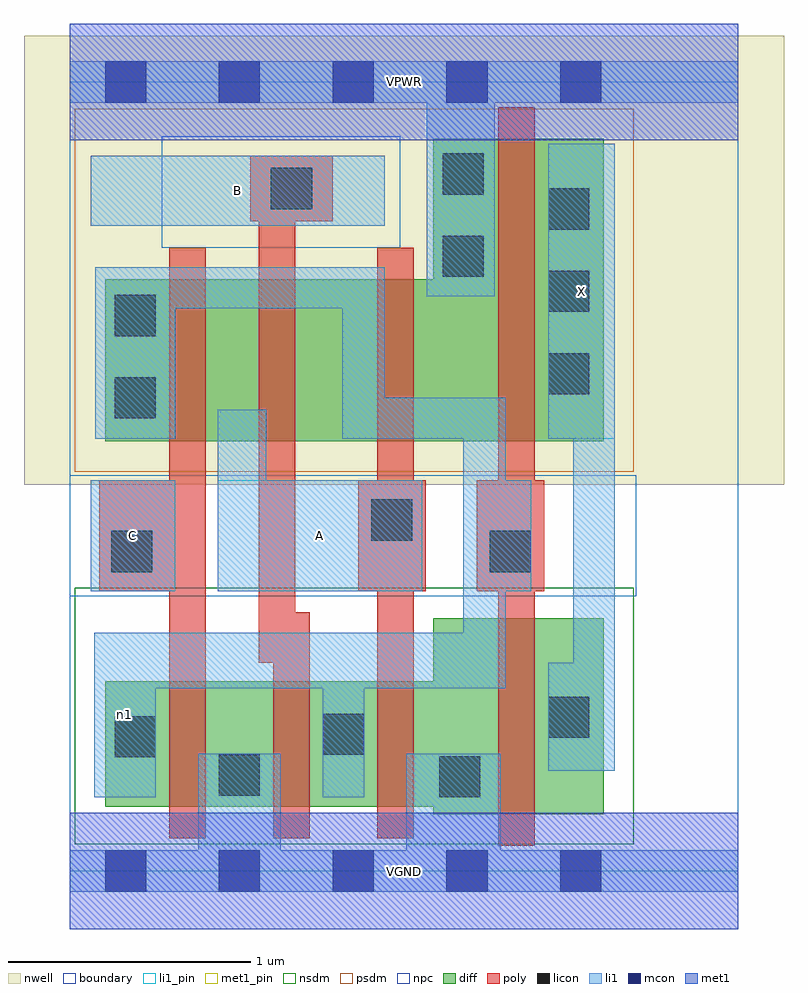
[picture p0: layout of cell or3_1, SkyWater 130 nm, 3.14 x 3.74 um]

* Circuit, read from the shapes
.subckt or3_1 A B C VGND VPWR X n1
XM1 VGND C n1 VSUBS sky130_fd_pr__nfet_01v8 w=0.52 l=0.15
XM2 n1 B VGND VSUBS sky130_fd_pr__nfet_01v8 w=0.52 l=0.15
XM3 VGND A n1 VSUBS sky130_fd_pr__nfet_01v8 w=0.52 l=0.15
XM4 X n1 VGND VSUBS sky130_fd_pr__nfet_01v8 w=0.81 l=0.15
XM5 n2 C n1 n3 sky130_fd_pr__pfet_01v8 w=0.67 l=0.15
XM6 n4 B n2 n3 sky130_fd_pr__pfet_01v8 w=0.67 l=0.15
XM7 VPWR A n4 n3 sky130_fd_pr__pfet_01v8 w=0.67 l=0.15
XM8 X n1 VPWR n3 sky130_fd_pr__pfet_01v8 w=1.25 l=0.15
.ends

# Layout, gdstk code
import gdstk
lib = gdstk.Library(unit=1e-6, precision=1e-09)
def R(c, l, rs):  # rectangles x0, y0, x1, y1
    for r in rs: c.add(gdstk.rectangle(r[:2], r[2:], *l))
def A(c, l, x, y, w, h, nx, ny, dx, dy):  # array of equal rectangles
    R(c, l, [(x+i*dx, y+j*dy, x+i*dx+w, y+j*dy+h) for i in range(nx) for j in range(ny)])
nwell = (64, 20)
diff = (65, 20)
poly = (66, 20)
licon = (66, 44)
li1_pin = (67, 16)
li1 = (67, 20)
mcon = (67, 44)
met1_pin = (68, 16)
met1 = (68, 20)
nsdm = (93, 44)
psdm = (94, 20)
npc = (95, 20)
boundary = (235, 4)

or3_1 = lib.new_cell('or3_1')
R(or3_1, nwell, [(-0.19,1.595,2.95,3.45), (0,1.595,2.76,3.45)])
R(or3_1, diff, [(1.5,0.235,2.205,1.045), (0.145,0.265,2.205,0.785), (0.145,1.775,2.205,2.445), (1.5,1.775,2.205,3.025)])
R(or3_1, poly, [(1.77,0.105,1.92,3.155), (0.41,0.135,0.56,2.575), (0.84,0.135,0.99,1.07), (1.27,0.135,1.42,2.575), (0.78,0.86,0.93,2.955), (0.12,1.155,0.56,1.615), (1.19,1.155,1.47,1.615), (1.68,1.155,1.96,1.615), (0.745,2.685,1.085,2.955)])
A(or3_1, licon, 1.975, 1.97, 0.17, 0.17, 1, 3, 0, 0.34)
R(or3_1, licon, [(1.525,0.305,1.695,0.475), (0.615,0.31,0.785,0.48), (0.185,0.47,0.355,0.64), (1.045,0.48,1.215,0.65), (1.975,0.55,2.145,0.72), (0.17,1.235,0.34,1.405), (1.735,1.235,1.905,1.405), (1.245,1.365,1.415,1.535), (0.185,1.87,0.355,2.04), (0.185,2.21,0.355,2.38), (1.54,2.455,1.71,2.625), (0.83,2.735,1,2.905), (1.54,2.795,1.71,2.965)])
R(or3_1, li1_pin, [(0.085,1.155,0.435,1.615), (0.61,1.155,1.455,1.615), (1.975,1.785,2.25,3.005), (0.085,2.665,1.3,2.955)])
R(or3_1, li1, [(0,-0.085,2.76,0.085), (0.53,-0.085,0.87,0.485), (1.39,-0.085,1.78,0.485), (0.1,0.305,0.355,0.985), (1.045,0.305,1.215,0.985), (1.975,0.415,2.25,0.86), (2.08,0.415,2.25,3.005), (0.1,0.755,1.8,0.985), (1.625,0.755,1.8,1.955), (0.085,1.155,0.435,1.615), (0.61,1.155,1.455,1.615), (0.61,1.155,0.81,1.905), (1.625,1.155,1.905,1.615), (0.105,1.785,0.435,2.495), (1.125,1.785,1.8,1.955), (1.125,1.785,1.3,2.495), (1.975,1.785,2.25,3.005), (0.105,2.325,1.3,2.495), (1.475,2.375,1.755,3.345), (0.085,2.665,1.3,2.955), (0,3.175,2.76,3.345)])
A(or3_1, mcon, 0.145, -0.085, 0.17, 0.17, 5, 2, 0.47, 3.26)
R(or3_1, met1_pin, [(0,-0.24,2.76,0.24), (0,3.02,2.76,3.5)])
R(or3_1, met1, [(0,-0.24,2.76,0.24), (0,3.02,2.76,3.5)])
R(or3_1, nsdm, [(0.02,0.11,2.33,1.17)])
R(or3_1, psdm, [(0.02,1.65,2.33,3.15)])
R(or3_1, npc, [(0,1.135,2.34,1.635), (0.38,2.575,1.365,3.035)])
R(or3_1, boundary, [(0,0,2.76,3.26)])
or3_1.add(gdstk.Label('A', (1.032,1.385), layer=67, texttype=5))
or3_1.add(gdstk.Label('B', (0.692,2.81), layer=67, texttype=5))
or3_1.add(gdstk.Label('C', (0.26,1.385), layer=67, texttype=5))
or3_1.add(gdstk.Label('X', (2.112,2.395), layer=67, texttype=5))
or3_1.add(gdstk.Label('n1', (0.227,0.645), layer=67, texttype=5))
or3_1.add(gdstk.Label('VPWR', (1.38,3.26), layer=68, texttype=5))
or3_1.add(gdstk.Label('VGND', (1.38,0), layer=68, texttype=5))
or3_1.add(gdstk.Label('A', (1.032,1.385), layer=67, texttype=16))
or3_1.add(gdstk.Label('B', (0.692,2.81), layer=67, texttype=16))
or3_1.add(gdstk.Label('C', (0.26,1.385), layer=67, texttype=16))
or3_1.add(gdstk.Label('X', (2.112,2.395), layer=67, texttype=16))
or3_1.add(gdstk.Label('VPWR', (1.38,3.26), layer=68, texttype=16))
or3_1.add(gdstk.Label('VGND', (1.38,0), layer=68, texttype=16))

lib.write_gds('or3_1.gds')
